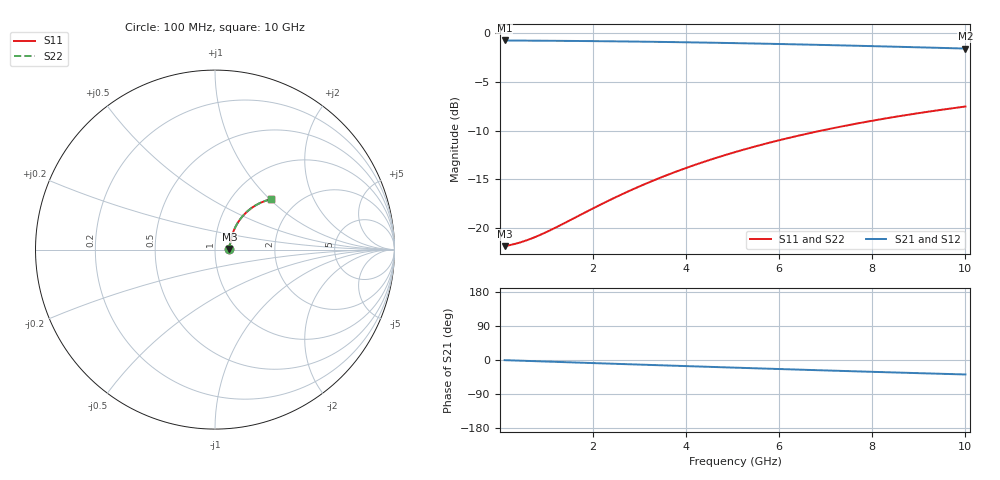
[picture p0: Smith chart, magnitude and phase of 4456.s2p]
# Hz S RI R 50.00
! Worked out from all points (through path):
!   100 points, 100 MHz to 10 GHz, reference 50 ohm
!   highest |S21| = -0.73 dB at 100 MHz (marker M1); lowest = -1.6 dB at 10 GHz (marker M2)
!   group delay of S21, straight-line fit = 10.6 ps
!   lowest |S11| = -21.8 dB at 100 MHz (marker M3), VSWR 1.18, Z = 58.8 + j0.499 ohm
!   |S11| at or under -10 dB: start of sweep to 6.89 GHz
!   |S22| runs from -21.8 to -7.5 dB; largest |S21 - S12| = 0
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1e8  0.0808 0.00422  0.9192 -0.00655  0.9192 -0.00655  0.0808 0.00422
4e8  0.0823 0.0168  0.9176 -0.0261  0.9176 -0.0261  0.0823 0.0168
6e8  0.0834 0.0252  0.9165 -0.0392  0.9165 -0.0392  0.0834 0.0252
8e8  0.0846 0.0335  0.9152 -0.0521  0.9152 -0.0521  0.0846 0.0335
1e9  0.086 0.0417  0.9137 -0.0651  0.9137 -0.0651  0.086 0.0417
1.2e9  0.0876 0.05  0.912 -0.078  0.912 -0.078  0.0876 0.05
1.8e9  0.0936 0.0742  0.9055 -0.1163  0.9055 -0.1163  0.0936 0.0742
2.2e9  0.0986 0.0901  0.9 -0.1414  0.9 -0.1414  0.0986 0.0901
2.6e9  0.1045 0.1055  0.8936 -0.1662  0.8936 -0.1662  0.1045 0.1055
3e9  0.1111 0.1205  0.8863 -0.1906  0.8863 -0.1906  0.1111 0.1205
3.4e9  0.1186 0.1351  0.8781 -0.2145  0.8781 -0.2145  0.1186 0.1351
3.8e9  0.1268 0.1491  0.8691 -0.2379  0.8691 -0.2379  0.1268 0.1491
4.2e9  0.1357 0.1626  0.8593 -0.2608  0.8593 -0.2608  0.1357 0.1626
4.6e9  0.1452 0.1755  0.8487 -0.283  0.8487 -0.283  0.1452 0.1755
5.1e9  0.158 0.1907  0.8345 -0.31  0.8345 -0.31  0.158 0.1907
5.5e9  0.1689 0.2021  0.8224 -0.3308  0.8224 -0.3308  0.1689 0.2021
5.9e9  0.1802 0.2128  0.8097 -0.351  0.8097 -0.351  0.1802 0.2128
6.7e9  0.2042 0.2321  0.7828 -0.3892  0.7828 -0.3892  0.2042 0.2321
7.5e9  0.2297 0.2485  0.754 -0.4245  0.754 -0.4245  0.2297 0.2485
8.4e9  0.2595 0.2633  0.72 -0.4608  0.72 -0.4608  0.2595 0.2633
9.2e9  0.2866 0.2734  0.6887 -0.49  0.6887 -0.49  0.2866 0.2734
1e10  0.3139 0.2806  0.6567 -0.5164  0.6567 -0.5164  0.3139 0.2806
